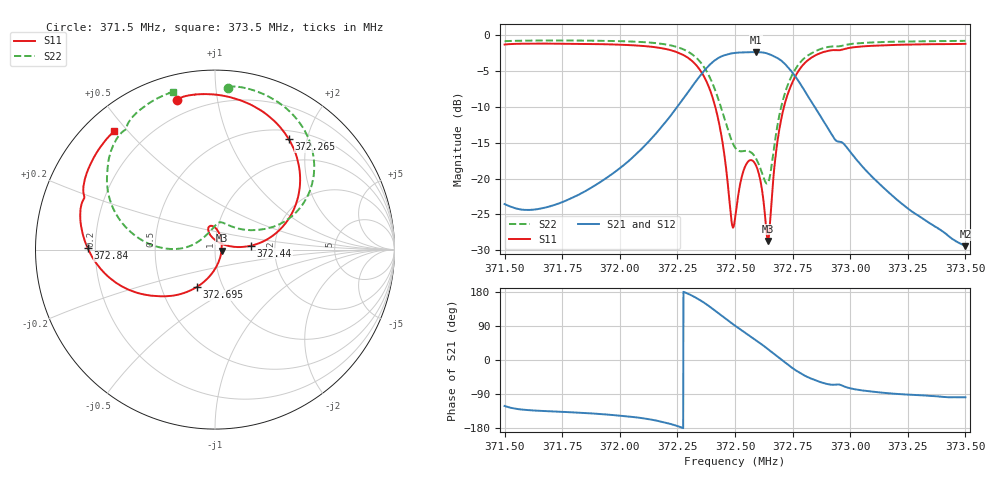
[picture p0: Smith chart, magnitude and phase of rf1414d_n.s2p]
!RF1414D #1, In tuned fixture, 2-12-07, Narrow span
# HZ S RI R 50
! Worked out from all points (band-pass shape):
!   1601 points, 371.5 MHz to 373.5 MHz, reference 50 ohm
!   highest |S21| = -2.38 dB at 372.59 MHz (marker M1); lowest = -29.4 dB at 373.5 MHz (marker M2)
!   |S21| within 3 dB of the highest: 372.3559 MHz to 372.7529 MHz (396.9 kHz wide, 0.107 % of centre)
!   lowest |S11| = -28.7 dB at 372.644 MHz (marker M3), VSWR 1.08, Z = 53.8 - j0.643 ohm
!   |S11| at or under -10 dB: 372.4143 MHz to 372.7126 MHz (298.3 kHz wide, 0.0801 % of centre)
!   |S22| runs from -20.7 to -0.8 dB; largest |S21 - S12| = 0.006
!   S11 on the Smith chart (normalised r, x): 371.5 MHz: 0.12, +0.77; 372.265 MHz: 0.62, +1.69; 372.44 MHz: 1.50, +0.07; 372.695 MHz: 0.75, -0.33; 372.84 MHz: 0.17, +0.01; 373.5 MHz: 0.09, +0.46
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3.715e8  -0.2115 0.8322  -0.0345 -0.0568  -0.0335 -0.0573  0.075 0.9028
3.716388e8  -0.1474 0.859  -0.0422 -0.0443  -0.0415 -0.045  0.1178 0.9083
3.718338e8  -0.0551 0.8665  -0.06 -0.0515  -0.0593 -0.0527  0.1893 0.8951
3.721675e8  0.2556 0.7755  -0.2036 -0.0703  -0.2045 -0.0736  0.4177 0.7681
3.72265e8  0.4106 0.6162  -0.3406 -0.0148  -0.3444 -0.0181  0.5215 0.6173
3.7232e8  0.4712 0.4411  -0.4418 0.0958  -0.4469 0.0955  0.553 0.4636
3.723713e8  0.4395 0.2246  -0.4938 0.2971  -0.4975 0.3006  0.5064 0.2804
3.7244e8  0.202 0.0222  -0.3287 0.6273  -0.3264 0.63  0.2874 0.1169
3.72485e8  0.039 0.0319  -0.0935 0.7391  -0.0921 0.738  0.1457 0.1138
3.725e8  0.00267 0.0522  -0.00858 0.7511  -0.00793 0.7495  0.11 0.1228
3.725425e8  -0.0382 0.1137  0.225 0.7234  0.2228 0.723  0.0445 0.1495
3.7259e8  -0.00178 0.1246  0.4595 0.6063  0.4571 0.6097  0.00658 0.1391
3.726113e8  0.0222 0.0923  0.5507 0.5216  0.5498 0.5266  -0.0149 0.1154
3.726437e8  0.0363 -0.00597  0.6527 0.351  0.6555 0.3558  -0.0728 0.0594
3.72675e8  -0.0203 -0.1369  0.6841 0.1651  0.6892 0.1678  -0.1894 0.00642
3.72695e8  -0.1022 -0.2089  0.6722 0.0467  0.6776 0.0466  -0.2884 0.00815
3.7276e8  -0.4517 -0.2351  0.4681 -0.2255  0.4689 -0.228  -0.5416 0.1825
3.728338e8  -0.6993 -0.0132  0.2183 -0.2591  0.2174 -0.2584  -0.5988 0.4498
3.7284e8  -0.7091 0.00748  0.2038 -0.2556  0.2028 -0.2545  -0.5971 0.4674
3.729375e8  -0.7359 0.273  0.0782 -0.1673  0.0788 -0.1659  -0.5052 0.664
3.731675e8  -0.6644 0.5314  0.00303 -0.08  0.00383 -0.0794  -0.3554 0.8234
3.735e8  -0.561 0.662  -0.00498 -0.0335  -0.00457 -0.0334  -0.2355 0.8799
